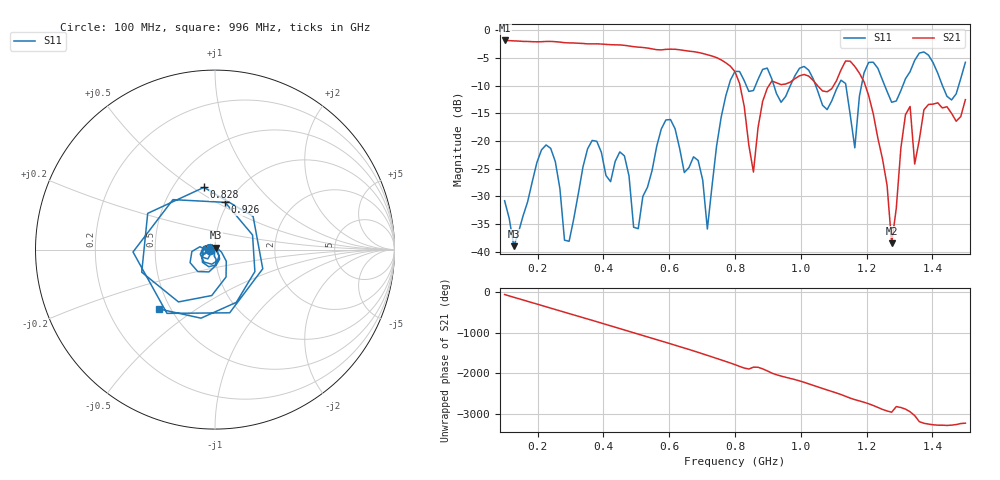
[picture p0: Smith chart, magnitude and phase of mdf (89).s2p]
! NanoVNA-App
! Date: 2025-09-25 15:39:07
! Start: 100MHz Stop: 1,5GHz Points: 101
! S-Parameter data: F S11 S21 S12 S22
# Hz S RI R 50
!  Frequency  S11_Real  S11_Imag  S21_Real  S21_Imag  S12_Real  S12_Imag  S22_Real  S22_Imag
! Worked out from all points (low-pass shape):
!   101 points, 100 MHz to 1.5 GHz, reference 50 ohm
!   highest |S21| = -1.80 dB at 100 MHz (marker M1); lowest = -38.4 dB at 1.276 GHz (marker M2)
!   |S21| within 3 dB of the highest: start of sweep to 739.1 MHz
!   lowest |S11| = -39.0 dB at 128 MHz (marker M3), VSWR 1.02, Z = 50.3 + j1.08 ohm
!   |S11| at or under -10 dB: start of sweep to 781 MHz; 1.045 GHz to 1.113 GHz (68.02 MHz wide, 6.3 % of centre); 1.255 GHz to 1.31 GHz (54.49 MHz wide, 4.25 % of centre) (the widest 3 of 7)
!   S12 and S22 are empty: the file has one direction only
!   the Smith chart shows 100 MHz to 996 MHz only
!   S11 on the Smith chart (normalised r, x): 100 MHz: 0.94, -0.01; 828 MHz: 0.70, +0.56; 926 MHz: 0.97, +0.55; 996 MHz: 0.43, -0.36
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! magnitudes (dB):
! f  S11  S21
! 100 MHz  -30.8  -1.8
! 128 MHz  -39.0  -1.9
! 212 MHz  -21.6  -2.0
! 282 MHz  -37.9  -2.2
! 338 MHz  -24.7  -2.3
! 464 MHz  -22.7  -2.7
! 506 MHz  -35.8  -3.0
! 576 MHz  -17.8  -3.5
! 716 MHz  -35.9  -4.4
! 800 MHz  -7.4  -7.5
! 828 MHz  -9.1  -13.7
! 856 MHz  -10.9  -25.6
! 926 MHz  -11.4  -9.4
! 996 MHz  -6.8  -8.2
! 1.038 GHz  -8.8  -9.1
! 1.136 GHz  -9.6  -5.5
! 1.164 GHz  -21.2  -6.5
! 1.192 GHz  -7.7  -9.3
! 1.276 GHz  -13.0  -38.4
! 1.318 GHz  -8.7  -15.2
! 1.346 GHz  -5.4  -24.1
! 1.5 GHz  -5.8  -12.5
